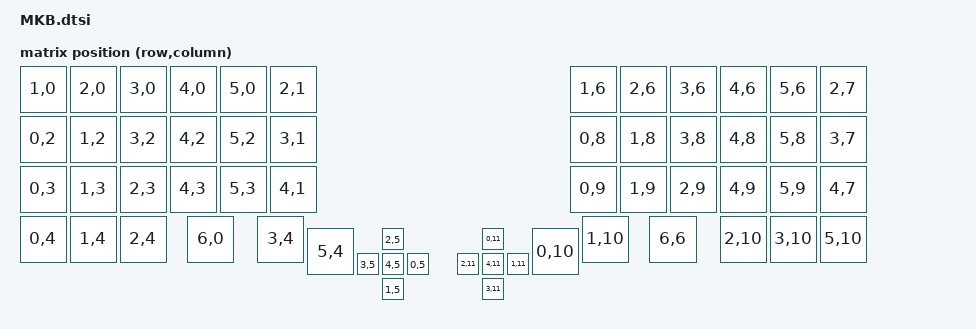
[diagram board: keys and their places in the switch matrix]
#include <dt-bindings/zmk/matrix_transform.h>
#include <dt-bindings/zmk/input_transform.h>
#include <physical_layouts.dtsi>
#include <behaviors/rgbled_widget.dtsi>
#include <zmk-input-inertia/input/processor/input_inertia.dtsi>

/ {
	chosen {
		zmk,kscan = &kscan0;
		zmk,physical-layout = &layout_MKB;
		zmk,matrix-transform = &default_transform;
	};
   
	default_transform: keymap_transform_0 {
		compatible = "zmk,matrix-transform";
		columns = <12>;
		rows = <5>;
                
		/*
		 * |  SW0    |  SW1     |  SW2    |  SW3     |  SW4    |   SW5     |   |  SW6    |  SW7     |  SW8     |    SW9   |  SW10   | SW11     |
		 * |  SW12   |  SW13    |  SW14   |  SW15    |  SW16   |   SW17    |   |  SW18   |  SW19    |  SW20    |    SW21  |  SW22   | SW23     |
		 * |  SW24   |  SW25    |  SW26   |  SW27    |  SW28   |   SW29    |   |  SW30   |  SW31    |  SW32    |    SW33  |  SW34   | SW35     |
		 * |  SW36   |  SW37    |  SW38   |          |  SW39   |   SW40    |   |  SW41   |  SW42    |          |    SW43  |  SW44   | SW45     |
		 * |  方向キー: ← ↑ Push → ↓ の順   | SW46 | SW47 | SW48 | SW49 | SW50 |   | SW51 | SW52 | SW53 | SW54 | SW55 |
		 * | Keyモジュール用に2つあまり |
		 */
                map = <
      RC( 1, 0)  RC( 2, 0)  RC( 3, 0)  RC( 4, 0)  RC( 5, 0)  RC( 2, 1)     RC( 1, 6)  RC( 2, 6)  RC( 3, 6)  RC( 4, 6)  RC( 5, 6)  RC( 2, 7)
      RC( 0, 2)  RC( 1, 2)  RC( 3, 2)  RC( 4, 2)  RC( 5, 2)  RC( 3, 1)     RC( 0, 8)  RC( 1, 8)  RC( 3, 8)  RC( 4, 8)  RC( 5, 8)  RC( 3, 7)
      RC( 0, 3)  RC( 1, 3)  RC( 2, 3)  RC( 4, 3)  RC( 5, 3)  RC( 4, 1)     RC( 0, 9)  RC( 1, 9)  RC( 2, 9)  RC( 4, 9)  RC( 5, 9)  RC( 4, 7)
      RC( 0, 4)  RC( 1, 4)  RC( 2, 4)             RC( 3, 4)  RC( 5, 4)     RC( 0,10)  RC( 1,10)             RC( 2,10)  RC( 3,10)  RC( 5,10)
      
      RC( 3, 5)  RC( 2, 5)  RC( 4, 5)  RC( 1, 5)  RC( 0, 5)                RC( 2,11)  RC( 0,11)  RC( 4,11)  RC( 3,11)  RC( 1,11)
      RC( 6, 0)   RC( 6, 6)
                >;
        };

	layout_MKB: layout_MKB {
		compatible = "zmk,physical-layout";
		display-name = "MKB";
		transform = <&default_transform>;
		kscan = <&kscan0>;
		                         // w   h  x y  rot rx ry
                keys = <&key_physical_attrs 100 100 0 0 0 0 0>,
		       <&key_physical_attrs 100 100 100 0 0 0 0>,
		       <&key_physical_attrs 100 100 200 0 0 0 0>,
		       <&key_physical_attrs 100 100 300 0 0 0 0>,
		       <&key_physical_attrs 100 100 400 0 0 0 0>,
		       <&key_physical_attrs 100 100 500 0 0 0 0>,
		       <&key_physical_attrs 100 100 1100 0 0 0 0>,
		       <&key_physical_attrs 100 100 1200 0 0 0 0>,
		       <&key_physical_attrs 100 100 1300 0 0 0 0>,
		       <&key_physical_attrs 100 100 1400 0 0 0 0>,
		       <&key_physical_attrs 100 100 1500 0 0 0 0>,
		       <&key_physical_attrs 100 100 1600 0 0 0 0>,
		       <&key_physical_attrs 100 100 0 100 0 0 0>,
		       <&key_physical_attrs 100 100 100 100 0 0 0>,
		       <&key_physical_attrs 100 100 200 100 0 0 0>,
		       <&key_physical_attrs 100 100 300 100 0 0 0>,
		       <&key_physical_attrs 100 100 400 100 0 0 0>,
		       <&key_physical_attrs 100 100 500 100 0 0 0>,
		       <&key_physical_attrs 100 100 1100 100 0 0 0>,
		       <&key_physical_attrs 100 100 1200 100 0 0 0>,
		       <&key_physical_attrs 100 100 1300 100 0 0 0>,
		       <&key_physical_attrs 100 100 1400 100 0 0 0>,
		       <&key_physical_attrs 100 100 1500 100 0 0 0>,
		       <&key_physical_attrs 100 100 1600 100 0 0 0>,
		       <&key_physical_attrs 100 100 0 200 0 0 0>,
		       <&key_physical_attrs 100 100 100 200 0 0 0>,
		       <&key_physical_attrs 100 100 200 200 0 0 0>,
		       <&key_physical_attrs 100 100 300 200 0 0 0>,
		       <&key_physical_attrs 100 100 400 200 0 0 0>,
		       <&key_physical_attrs 100 100 500 200 0 0 0>,
		       <&key_physical_attrs 100 100 1100 200 0 0 0>,
		       <&key_physical_attrs 100 100 1200 200 0 0 0>,
		       <&key_physical_attrs 100 100 1300 200 0 0 0>,
		       <&key_physical_attrs 100 100 1400 200 0 0 0>,
		       <&key_physical_attrs 100 100 1500 200 0 0 0>,
		       <&key_physical_attrs 100 100 1600 200 0 0 0>,
		       <&key_physical_attrs 100 100 0 300 0 0 0>,
		       <&key_physical_attrs 100 100 100 300 0 0 0>,
		       <&key_physical_attrs 100 100 200 300 0 0 0>,
		       <&key_physical_attrs 100 100 475 300 0 0 0>,
		       <&key_physical_attrs 100 100 575 325 0 0 0>,
		       <&key_physical_attrs 100 100 1025 325 0 0 0>,
		       <&key_physical_attrs 100 100 1125 300 0 0 0>,
		       <&key_physical_attrs 100 100 1400 300 0 0 0>,
		       <&key_physical_attrs 100 100 1500 300 0 0 0>,
		       <&key_physical_attrs 100 100 1600 300 0 0 0>,
		       <&key_physical_attrs 50 50 675 375 0 0 0>,
		       <&key_physical_attrs 50 50 725 325 0 0 0>,
		       <&key_physical_attrs 50 50 725 375 0 0 0>,
		       <&key_physical_attrs 50 50 725 425 0 0 0>,
		       <&key_physical_attrs 50 50 775 375 0 0 0>,
		       <&key_physical_attrs 50 50 875 375 0 0 0>,
		       <&key_physical_attrs 50 50 925 325 0 0 0>,
		       <&key_physical_attrs 50 50 925 375 0 0 0>,
		       <&key_physical_attrs 50 50 925 425 0 0 0>,
		       <&key_physical_attrs 50 50 975 375 0 0 0>,
		       <&key_physical_attrs 100 100 335 300 0 0 0>,
		       <&key_physical_attrs 100 100 1260 300 0 0 0>;
	};

	kscan0: kscan {
		compatible = "zmk,kscan-gpio-charlieplex";
		label = "KSCAN";
		wakeup-source;
		interrupt-gpios = <&xiao_d 6 (GPIO_ACTIVE_HIGH | GPIO_PULL_DOWN)>;
	};

	position_map {
		compatible = "zmk,physical-layout-position-map";

		layout_MKB {
			physical-layout = <&layout_MKB>;
			positions = <>;
		};
	};

	aliases {
		led-red = &led0;
		led-green = &led1;
		led-blue = &led2;
	};

	leds {
		compatible = "gpio-leds";
		status = "okay";

		led0: led_0 {
			gpios = <&gpio0 26 GPIO_ACTIVE_LOW>;  // red LED, connected to P0.26
		};

		led1: led_1 {
			gpios = <&gpio0 30 GPIO_ACTIVE_LOW>;  // green LED, connected to P0.30
		};

		led2: led_2 {
			gpios = <&gpio0 6 GPIO_ACTIVE_LOW>;  // blue LED, connected to P0.06
		};
	};

	split_inputs {
		#address-cells = <1>;
		#size-cells = <0>;

		trackball_split_right: trackball_split_right@0 {
			compatible = "zmk,input-split";
			reg = <0>;
		};

		trackball_split_left: trackball_split_left@1 {
			compatible = "zmk,input-split";
			reg = <1>;
		};
	};

	trackball_right_listener: trackball_right_listener {
		compatible = "zmk,input-listener";
		status = "disabled";
		device = <&trackball_split_right>;

		input-processors = <&zip_temp_layer 6 5000>;

		trackball_scroller: scroller {
			layers = <2>;
			input-processors = <&zip_xy_scaler 1 25 &zip_xy_to_scroll_mapper>,
					   <&zip_scroll_transform INPUT_TRANSFORM_Y_INVERT>;
		};
	};

	trackball_left_listener: trackball_left_listener {
		compatible = "zmk,input-listener";
		status = "disabled";
		device = <&trackball_split_left>;
		input-processors = <&zip_xy_transform INPUT_TRANSFORM_X_INVERT>,
				   <&zip_xy_scaler 1 16>, <&zip_xy_to_scroll_mapper>, <&zip_inertia>;
	};
};

&zip_inertia {
    // 慣性が始まるまでの待ち時間 (推奨: センサーのポーリングレートの2倍以上)
    trigger-ms = <35>; 

    // --- マウス移動の設定 ---
    move-decay-factor-int = <90>;       // 減衰率 (0-100)
    move-report-interval-ms = <35>;     // レポート送信間隔 (ms)
    move-threshold-start = <15>;        // 慣性が発動する最小移動量 (pix/report)
    move-threshold-stop = <1>;          // 慣性が停止する移動量 (pix/report)

    // --- スクロールの設定 ---
    scroll-decay-factor-int = <20>;    // スクロール減衰率
    scroll-report-interval-ms = <60>;  // スクロールレポート間隔 (ms)
    scroll-threshold-start = <2>;      // 慣性が発動する最小スクロール量 (pix/report)
    scroll-threshold-stop = <0>;       // 慣性が停止するスクロール量 (pix/report)
};


&uicr {
	nfct-pins-as-gpios;
};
